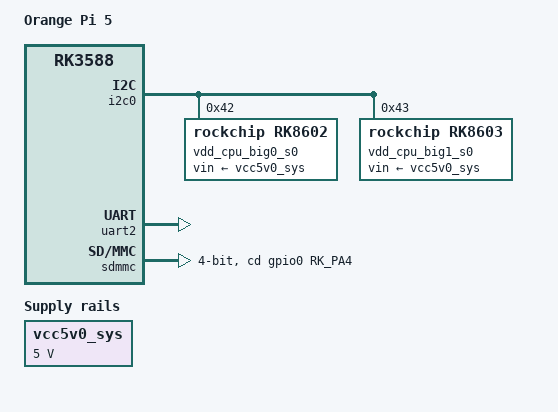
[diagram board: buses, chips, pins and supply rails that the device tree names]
// SPDX-License-Identifier: (GPL-2.0+ OR MIT)

/dts-v1/;

#include <dt-bindings/gpio/gpio.h>
#include "rk3588s.dtsi"

/ {
	model = "Orange Pi 5";
	compatible = "rockchip,orangepi5", "rockchip,rk3588s", "rockchip,rk3588";

	aliases {
		serial2 = &uart2;
	};

	chosen {
		stdout-path = "serial2:1500000n8";
	};

	reserved-memory {
		#address-cells = <2>;
		#size-cells = <2>;
		ranges;

		cma {
			compatible = "shared-dma-pool";
			reusable;
			size = <0x0 (16 * 0x100000)>;
			alloc-ranges = <0x0 0x0 0x1 0x0>;
			linux,cma-default;
		};

		ramoops: ramoops@110000 {
			compatible = "ramoops";
			reg = <0x0 0x110000 0x0 0xf0000>;
			record-size = <0x20000>;
			console-size = <0x80000>;
			ftrace-size = <0x00000>;
			pmsg-size = <0x50000>;
		};
	};

	vcc5v0_sys: vcc5v0-sys-regulator {
		compatible = "regulator-fixed";
		regulator-name = "vcc5v0_sys";
		regulator-always-on;
		regulator-boot-on;
		regulator-min-microvolt = <5000000>;
		regulator-max-microvolt = <5000000>;
	};

	vcc_3v3_s3: dcdc-reg8 {
		regulator-always-on;
		regulator-boot-on;
		regulator-min-microvolt = <3300000>;
		regulator-max-microvolt = <3300000>;
		regulator-name = "vcc_3v3_s3";
	};
};

&cpu_b0 {
	cpu-supply = <&vdd_cpu_big0_s0>;
};

&cpu_b1 {
	cpu-supply = <&vdd_cpu_big0_s0>;
};

&cpu_b2 {
	cpu-supply = <&vdd_cpu_big1_s0>;
};

&cpu_b3 {
	cpu-supply = <&vdd_cpu_big1_s0>;
};

&i2c0 {
	pinctrl-names = "default";
	pinctrl-0 = <&i2c0m2_xfer>;
	status = "okay";

	vdd_cpu_big0_s0: regulator@42 {
		compatible = "rockchip,rk8602";
		reg = <0x42>;
		fcs,suspend-voltage-selector = <1>;
		regulator-name = "vdd_cpu_big0_s0";
		regulator-always-on;
		regulator-boot-on;
		regulator-min-microvolt = <550000>;
		regulator-max-microvolt = <1050000>;
		regulator-ramp-delay = <2300>;
		vin-supply = <&vcc5v0_sys>;

		regulator-state-mem {
			regulator-off-in-suspend;
		};
	};

	vdd_cpu_big1_s0: regulator@43 {
		compatible = "rockchip,rk8603", "rockchip,rk8602";
		reg = <0x43>;
		fcs,suspend-voltage-selector = <1>;
		regulator-name = "vdd_cpu_big1_s0";
		regulator-always-on;
		regulator-boot-on;
		regulator-min-microvolt = <550000>;
		regulator-max-microvolt = <1050000>;
		regulator-ramp-delay = <2300>;
		vin-supply = <&vcc5v0_sys>;

		regulator-state-mem {
			regulator-off-in-suspend;
		};
	};
};

&uart2 {
	pinctrl-0 = <&uart2m0_xfer>;
	status = "okay";
};

&sdmmc {
	bus-width = <4>;
	status = "okay";
	cd-gpios = <&gpio0 RK_PA4 GPIO_ACTIVE_HIGH>;
};
